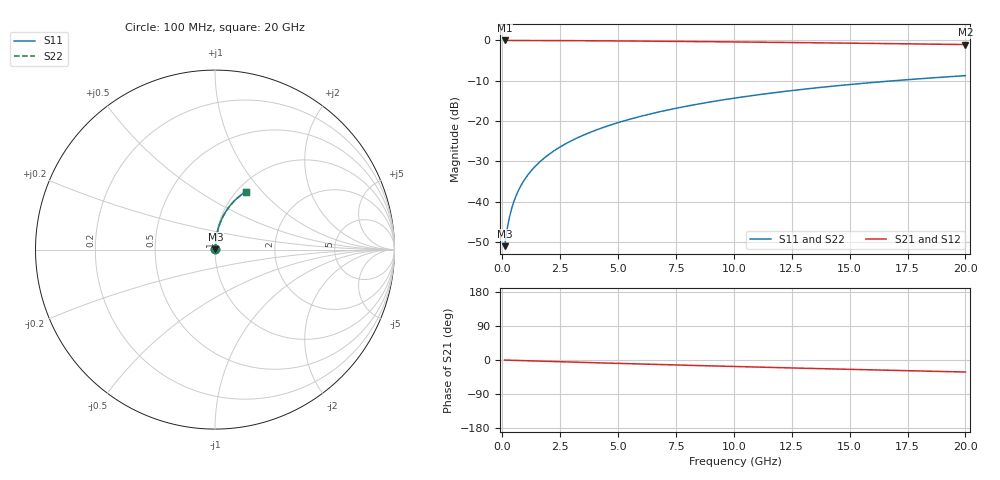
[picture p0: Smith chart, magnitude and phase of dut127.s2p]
! Touchstone file exported from HFSS 2024.1.0
!  File:  C:/UserFiles/LocalFiles/RDL_TSV_Batchsim/temp_RDL_top_127_1778684220.aedt
!  Generated:  10:59:22 PM May 13, 2026
!  Design:  RDL_top
!  Project:  temp_RDL_top_127_1778684220
!  Setup:  Setup1
!  Solution:  Sweep
! Variables:
!  dtsv = 10.80580581um
!  hbump = 3um
!  htsv = 75.78um
!  ldown = 100um
!  lrdl = 383um
!  p = 40
!  p1 = 56.9um
!  rhole = 1um
!  t = 450um
!  tdown = 3.915915916um
!  trdl = 4.53um
!  wdown = 15.38538539um
!  wrdl = 15.85um
# GHz S MA R 50.000000
! Terminal data exported
! Port[1] = Box2_T1
! Port[2] = Box2_T2
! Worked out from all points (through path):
!   200 points, 100 MHz to 20 GHz, reference 50 ohm
!   highest |S21| = -0.02 dB at 100 MHz (marker M1); lowest = -1.0 dB at 20 GHz (marker M2)
!   group delay of S21, straight-line fit = 4.38 ps
!   lowest |S11| = -51.0 dB at 100 MHz (marker M3), VSWR 1.01, Z = 50.2 + j0.2 ohm
!   |S11| at or under -10 dB: start of sweep to 16.9 GHz
!   |S22| runs from -51.0 to -8.7 dB; largest |S21 - S12| = 4e-15
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0.1  0.002826 44.7  0.998 -0.2  0.998 -0.2  0.002826 44.7
! Gamma 0 0 0 0
! Port Impedance 50 0 50 0
0.2  0.004467 62.8  0.9979 -0.4  0.9979 -0.4  0.004467 62.8
0.3  0.006304 70.5  0.9978 -0.6  0.9978 -0.6  0.006304 70.5
0.4  0.008194 74.6  0.9977 -0.7  0.9977 -0.7  0.008194 74.6
0.5  0.0101 77.0  0.9976 -0.9  0.9976 -0.9  0.0101 77.1
0.7  0.0139 79.8  0.9974 -1.3  0.9974 -1.3  0.01391 79.8
0.8  0.0158 80.7  0.9973 -1.5  0.9973 -1.5  0.0158 80.7
1  0.01958 81.9  0.9971 -1.8  0.9971 -1.8  0.01958 81.9
1.2  0.02336 82.7  0.9968 -2.2  0.9968 -2.2  0.02336 82.7
1.4  0.02713 83.2  0.9965 -2.6  0.9965 -2.6  0.02713 83.2
1.7  0.03279 83.7  0.9959 -3.1  0.9959 -3.1  0.03279 83.7
2  0.03846 84.0  0.9953 -3.7  0.9953 -3.7  0.03846 84.0
2.7  0.05174 84.1  0.9935 -4.9  0.9935 -4.9  0.05174 84.1
3.5  0.067 83.8  0.9909 -6.3  0.9909 -6.3  0.067 83.8
4.2  0.08042 83.3  0.9882 -7.6  0.9882 -7.6  0.08041 83.3
5  0.09582 82.5  0.9847 -9.0  0.9847 -9.0  0.09582 82.5
6.8  0.1306 80.5  0.9757 -12.0  0.9757 -12.0  0.1306 80.5
8.4  0.1616 78.5  0.9668 -14.6  0.9668 -14.6  0.1615 78.5
10.1  0.1941 76.1  0.9566 -17.3  0.9566 -17.3  0.1941 76.1
13.4  0.2554 71.4  0.9352 -22.3  0.9352 -22.3  0.2554 71.4
16.7  0.3129 66.6  0.9123 -27.1  0.9123 -27.1  0.3129 66.6
20  0.3658 61.9  0.8882 -31.7  0.8882 -31.7  0.3657 61.9
